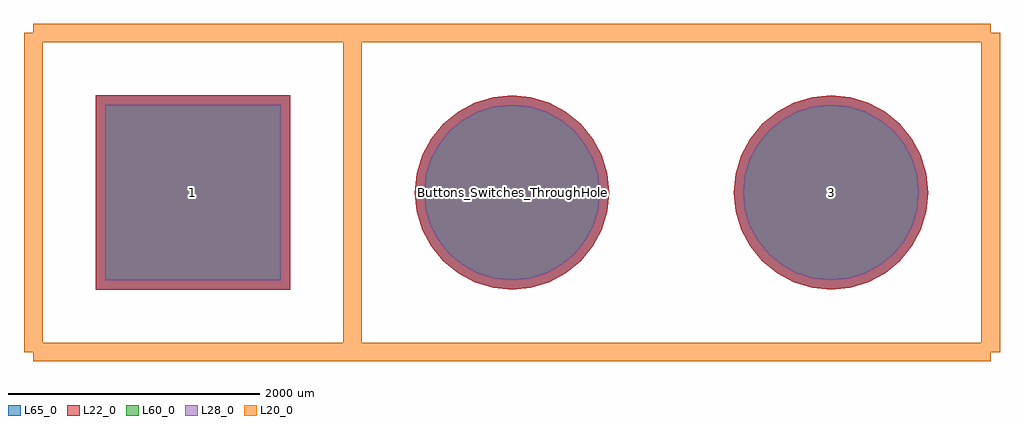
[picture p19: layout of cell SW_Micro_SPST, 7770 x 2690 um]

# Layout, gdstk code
import gdstk
lib = gdstk.Library(unit=1e-6, precision=1e-09)
def R(c, l, rs):  # rectangles x0, y0, x1, y1
    for r in rs: c.add(gdstk.rectangle(r[:2], r[2:], *l))
def P(c, l, *ps):  # polygons
    for p in ps: c.add(gdstk.Polygon(p, *l))
L20_0 = (20, 0)
L22_0 = (22, 0)
L28_0 = (28, 0)
L60_0 = (60, 0)
L65_0 = (65, 0)

sw_micro_spst = lib.new_cell('SW_Micro_SPST')
R(sw_micro_spst, L22_0, [(-3313.5,-773.5,-1766.5,773.5)])
P(sw_micro_spst, L22_0, [(3313.5,0),(3298.637,150.902),(3254.621,296.006),(3183.142,429.734),(3086.947,546.947),(2969.734,643.142),(2836.006,714.621),(2690.902,758.637),(2540,773.5),(2389.098,758.637),(2243.994,714.621),(2110.266,643.142),(1993.053,546.947),(1896.858,429.734),(1825.379,296.006),(1781.363,150.902),(1766.5,0),(1781.363,-150.902),(1825.379,-296.006),(1896.858,-429.734),(1993.053,-546.947),(2110.266,-643.142),(2243.994,-714.621),(2389.098,-758.637),(2540,-773.5),(2690.902,-758.637),(2836.006,-714.621),(2969.734,-643.142),(3086.947,-546.947),(3183.142,-429.734),(3254.621,-296.006),(3298.637,-150.902)],
  [(773.5,0),(758.637,150.902),(714.621,296.006),(643.142,429.734),(546.947,546.947),(429.734,643.142),(296.006,714.621),(150.902,758.637),(0,773.5),(-150.902,758.637),(-296.006,714.621),(-429.734,643.142),(-546.947,546.947),(-643.142,429.734),(-714.621,296.006),(-758.637,150.902),(-773.5,0),(-758.637,-150.902),(-714.621,-296.006),(-643.142,-429.734),(-546.947,-546.947),(-429.734,-643.142),(-296.006,-714.621),(-150.902,-758.637),(0,-773.5),(150.902,-758.637),(296.006,-714.621),(429.734,-643.142),(546.947,-546.947),(643.142,-429.734),(714.621,-296.006),(758.637,-150.902)])
R(sw_micro_spst, L28_0, [(-3238.5,-698.5,-1841.5,698.5)])
P(sw_micro_spst, L28_0, [(3238.5,0),(3225.079,136.271),(3185.33,267.304),(3120.782,388.066),(3033.914,493.914),(2928.066,580.782),(2807.304,645.33),(2676.271,685.079),(2540,698.5),(2403.729,685.079),(2272.696,645.33),(2151.934,580.782),(2046.086,493.914),(1959.218,388.066),(1894.67,267.304),(1854.921,136.271),(1841.5,0),(1854.921,-136.271),(1894.67,-267.304),(1959.218,-388.066),(2046.086,-493.914),(2151.934,-580.782),(2272.696,-645.33),(2403.729,-685.079),(2540,-698.5),(2676.271,-685.079),(2807.304,-645.33),(2928.066,-580.782),(3033.914,-493.914),(3120.782,-388.066),(3185.33,-267.304),(3225.079,-136.271)],
  [(698.5,0),(685.079,136.271),(645.33,267.304),(580.782,388.066),(493.914,493.914),(388.066,580.782),(267.304,645.33),(136.271,685.079),(0,698.5),(-136.271,685.079),(-267.304,645.33),(-388.066,580.782),(-493.914,493.914),(-580.782,388.066),(-645.33,267.304),(-685.079,136.271),(-698.5,0),(-685.079,-136.271),(-645.33,-267.304),(-580.782,-388.066),(-493.914,-493.914),(-388.066,-580.782),(-267.304,-645.33),(-136.271,-685.079),(0,-698.5),(136.271,-685.079),(267.304,-645.33),(388.066,-580.782),(493.914,-493.914),(580.782,-388.066),(645.33,-267.304),(685.079,-136.271)])
R(sw_micro_spst, L60_0, [(-3238.5,-698.5,-1841.5,698.5)])
P(sw_micro_spst, L60_0, [(3238.5,0),(3225.079,136.271),(3185.33,267.304),(3120.782,388.066),(3033.914,493.914),(2928.066,580.782),(2807.304,645.33),(2676.271,685.079),(2540,698.5),(2403.729,685.079),(2272.696,645.33),(2151.934,580.782),(2046.086,493.914),(1959.218,388.066),(1894.67,267.304),(1854.921,136.271),(1841.5,0),(1854.921,-136.271),(1894.67,-267.304),(1959.218,-388.066),(2046.086,-493.914),(2151.934,-580.782),(2272.696,-645.33),(2403.729,-685.079),(2540,-698.5),(2676.271,-685.079),(2807.304,-645.33),(2928.066,-580.782),(3033.914,-493.914),(3120.782,-388.066),(3185.33,-267.304),(3225.079,-136.271)],
  [(698.5,0),(685.079,136.271),(645.33,267.304),(580.782,388.066),(493.914,493.914),(388.066,580.782),(267.304,645.33),(136.271,685.079),(0,698.5),(-136.271,685.079),(-267.304,645.33),(-388.066,580.782),(-493.914,493.914),(-580.782,388.066),(-645.33,267.304),(-685.079,136.271),(-698.5,0),(-685.079,-136.271),(-645.33,-267.304),(-580.782,-388.066),(-493.914,-493.914),(-388.066,-580.782),(-267.304,-645.33),(-136.271,-685.079),(0,-698.5),(136.271,-685.079),(267.304,-645.33),(388.066,-580.782),(493.914,-493.914),(580.782,-388.066),(645.33,-267.304),(685.079,-136.271)])
R(sw_micro_spst, L65_0, [(-3313.5,-773.5,-1766.5,773.5)])
P(sw_micro_spst, L65_0, [(3313.5,0),(3298.637,150.902),(3254.621,296.006),(3183.142,429.734),(3086.947,546.947),(2969.734,643.142),(2836.006,714.621),(2690.902,758.637),(2540,773.5),(2389.098,758.637),(2243.994,714.621),(2110.266,643.142),(1993.053,546.947),(1896.858,429.734),(1825.379,296.006),(1781.363,150.902),(1766.5,0),(1781.363,-150.902),(1825.379,-296.006),(1896.858,-429.734),(1993.053,-546.947),(2110.266,-643.142),(2243.994,-714.621),(2389.098,-758.637),(2540,-773.5),(2690.902,-758.637),(2836.006,-714.621),(2969.734,-643.142),(3086.947,-546.947),(3183.142,-429.734),(3254.621,-296.006),(3298.637,-150.902)],
  [(773.5,0),(758.637,150.902),(714.621,296.006),(643.142,429.734),(546.947,546.947),(429.734,643.142),(296.006,714.621),(150.902,758.637),(0,773.5),(-150.902,758.637),(-296.006,714.621),(-429.734,643.142),(-546.947,546.947),(-643.142,429.734),(-714.621,296.006),(-758.637,150.902),(-773.5,0),(-758.637,-150.902),(-714.621,-296.006),(-643.142,-429.734),(-546.947,-546.947),(-429.734,-643.142),(-296.006,-714.621),(-150.902,-758.637),(0,-773.5),(150.902,-758.637),(296.006,-714.621),(429.734,-643.142),(546.947,-546.947),(643.142,-429.734),(714.621,-296.006),(758.637,-150.902)])
sw_micro_spst.add(gdstk.FlexPath([(-1270,1270),(-1270,-1270)], 149.998, ends="flush", simple_path=True, layer=20, datatype=0))  # L20_0
sw_micro_spst.add(gdstk.FlexPath([(3810,-1270),(-3810,-1270)], 149.998, ends="flush", simple_path=True, layer=20, datatype=0))  # L20_0
sw_micro_spst.add(gdstk.FlexPath([(3810,1270),(3810,-1270)], 149.998, ends="flush", simple_path=True, layer=20, datatype=0))  # L20_0
sw_micro_spst.add(gdstk.FlexPath([(-3810,1270),(3810,1270)], 149.998, ends="flush", simple_path=True, layer=20, datatype=0))  # L20_0
sw_micro_spst.add(gdstk.FlexPath([(-3810,-1270),(-3810,1270)], 149.998, ends="flush", simple_path=True, layer=20, datatype=0))  # L20_0
sw_micro_spst.add(gdstk.Label('Buttons_Switches_ThroughHole.3dshapes/SW_Micro_SPST.wrl', (0,0), layer=12, texttype=0))
sw_micro_spst.add(gdstk.Label('3', (2540,0), layer=28, texttype=0))
sw_micro_spst.add(gdstk.Label('2', (0,0), layer=28, texttype=0))
sw_micro_spst.add(gdstk.Label('1', (-2540,0), layer=28, texttype=0))
sw_micro_spst.add(gdstk.Label('type', (25,-2450), layer=9, texttype=0))
sw_micro_spst.add(gdstk.Label('devicename', (0,2540), layer=9, texttype=0))

lib.write_gds('SW_Micro_SPST.gds')
